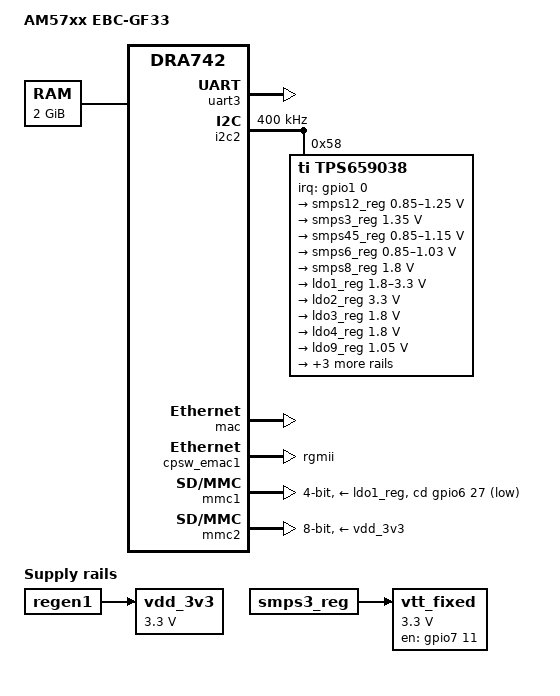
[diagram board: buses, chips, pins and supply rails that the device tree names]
/*
 * Copyright (C) 2014 Texas Instruments Incorporated - http://www.ti.com/
 *
 * This program is free software; you can redistribute it and/or modify
 * it under the terms of the GNU General Public License version 2 as
 * published by the Free Software Foundation.
 */
/dts-v1/;

#include "dra74x.dtsi"
#include <dt-bindings/gpio/gpio.h>
#include <dt-bindings/interrupt-controller/irq.h>

/ {
	model = "AM57xx EBC-GF33";
	compatible = "ti,am572x-beagle-x15", "ti,am5728", "ti,dra742", "ti,dra74", "ti,dra7";

	chosen {
		stdout-path = &uart3;
	};

	memory {
		device_type = "memory";
		reg = <0x80000000 0x80000000>;
	};

	vdd_3v3: fixedregulator-vdd_3v3 {
		compatible = "regulator-fixed";
		regulator-name = "vdd_3v3";
		vin-supply = <&regen1>;
		regulator-min-microvolt = <3300000>;
		regulator-max-microvolt = <3300000>;
	};

	vtt_fixed: fixedregulator-vtt {
		/* TPS51200 */
		compatible = "regulator-fixed";
		regulator-name = "vtt_fixed";
		vin-supply = <&smps3_reg>;
		regulator-min-microvolt = <3300000>;
		regulator-max-microvolt = <3300000>;
		regulator-always-on;
		regulator-boot-on;
		enable-active-high;
		gpio = <&gpio7 11 GPIO_ACTIVE_HIGH>;
	};
};

&dra7_pmx_core {
	leds_pins_default: leds_pins_default {
		pinctrl-single,pins = <
			0x3a8 (PIN_OUTPUT | MUX_MODE14)	/* spi1_d1.gpio7_8 */
			0x3ac (PIN_OUTPUT | MUX_MODE14)	/* spi1_d0.gpio7_9 */
			0x3c0 (PIN_OUTPUT | MUX_MODE14)	/* spi2_sclk.gpio7_14 */
			0x3c4 (PIN_OUTPUT | MUX_MODE14)	/* spi2_d1.gpio7_15 */
		>;
	};

	i2c1_pins_default: i2c1_pins_default {
		pinctrl-single,pins = <
			0x400 (PIN_INPUT_PULLUP | MUX_MODE0)	/* i2c1_sda.sda */
			0x404 (PIN_INPUT_PULLUP | MUX_MODE0)	/* i2c1_scl.scl */
		>;
	};

	hdmi_pins: pinmux_hdmi_pins {
		pinctrl-single,pins = <
			0x408 (PIN_INPUT | MUX_MODE1)	/* i2c2_sda.hdmi1_ddc_scl */
			0x40c (PIN_INPUT | MUX_MODE1)	/* i2c2_scl.hdmi1_ddc_sda */
		>;
	};

	i2c3_pins_default: i2c3_pins_default {
		pinctrl-single,pins = <
			0x2a4 (PIN_INPUT| MUX_MODE10)	/* mcasp1_aclkx.i2c3_sda */
			0x2a8 (PIN_INPUT| MUX_MODE10)	/* mcasp1_fsx.i2c3_scl */
		>;
	};

	uart3_pins_default: uart3_pins_default {
		pinctrl-single,pins = <
			0x3f8 (PIN_INPUT_SLEW | MUX_MODE2) /* uart2_ctsn.uart3_rxd */
			0x3fc (PIN_INPUT_SLEW | MUX_MODE1) /* uart2_rtsn.uart3_txd */
		>;
	};

	mmc1_pins_default: mmc1_pins_default {
		pinctrl-single,pins = <
			0x36c (PIN_INPUT | MUX_MODE14)	/* mmc1sdcd.gpio219 */
			0x354 (PIN_INPUT_PULLUP | MUX_MODE0) /* mmc1_clk.clk */
			0x358 (PIN_INPUT_PULLUP | MUX_MODE0) /* mmc1_cmd.cmd */
			0x35c (PIN_INPUT_PULLUP | MUX_MODE0) /* mmc1_dat0.dat0 */
			0x360 (PIN_INPUT_PULLUP | MUX_MODE0) /* mmc1_dat1.dat1 */
			0x364 (PIN_INPUT_PULLUP | MUX_MODE0) /* mmc1_dat2.dat2 */
			0x368 (PIN_INPUT_PULLUP | MUX_MODE0) /* mmc1_dat3.dat3 */
		>;
	};

	mmc1_pins_hs: pinmux_mmc1_hs_pins {
		pinctrl-single,pins = <
			0x354 (PIN_INPUT_PULLUP | MUX_VIRTUAL_MODE11 | MUX_MODE0) /* mmc1_clk.clk */
			0x358 (PIN_INPUT_PULLUP | MUX_VIRTUAL_MODE11 | MUX_MODE0) /* mmc1_cmd.cmd */
			0x35c (PIN_INPUT_PULLUP | MUX_VIRTUAL_MODE11 | MUX_MODE0) /* mmc1_dat0.dat0 */
			0x360 (PIN_INPUT_PULLUP | MUX_VIRTUAL_MODE11 | MUX_MODE0) /* mmc1_dat1.dat1 */
			0x364 (PIN_INPUT_PULLUP | MUX_VIRTUAL_MODE11 | MUX_MODE0) /* mmc1_dat2.dat2 */
			0x368 (PIN_INPUT_PULLUP | MUX_VIRTUAL_MODE11 | MUX_MODE0) /* mmc1_dat3.dat3 */
		>;
	};

	mmc2_pins_default: mmc2_pins_default {
		pinctrl-single,pins = <
			0x9c (PIN_INPUT_PULLUP | MUX_MODE1) /* gpmc_a23.mmc2_clk */
			0xb0 (PIN_INPUT_PULLUP | MUX_MODE1) /* gpmc_cs1.mmc2_cmd */
			0xa0 (PIN_INPUT_PULLUP | MUX_MODE1) /* gpmc_a24.mmc2_dat0 */
			0xa4 (PIN_INPUT_PULLUP | MUX_MODE1) /* gpmc_a25.mmc2_dat1 */
			0xa8 (PIN_INPUT_PULLUP | MUX_MODE1) /* gpmc_a26.mmc2_dat2 */
			0xac (PIN_INPUT_PULLUP | MUX_MODE1) /* gpmc_a27.mmc2_dat3 */
			0x8c (PIN_INPUT_PULLUP | MUX_MODE1) /* gpmc_a19.mmc2_dat4 */
			0x90 (PIN_INPUT_PULLUP | MUX_MODE1) /* gpmc_a20.mmc2_dat5 */
			0x94 (PIN_INPUT_PULLUP | MUX_MODE1) /* gpmc_a21.mmc2_dat6 */
			0x98 (PIN_INPUT_PULLUP | MUX_MODE1) /* gpmc_a22.mmc2_dat7 */
		>;
	};

	mmc2_pins_hs: mmc2_pins_hs {
		pinctrl-single,pins = <
			0x9c (PIN_INPUT_PULLUP | MUX_MODE1) /* gpmc_a23.mmc2_clk */
			0xb0 (PIN_INPUT_PULLUP | MUX_MODE1) /* gpmc_cs1.mmc2_cmd */
			0xa0 (PIN_INPUT_PULLUP | MUX_MODE1) /* gpmc_a24.mmc2_dat0 */
			0xa4 (PIN_INPUT_PULLUP | MUX_MODE1) /* gpmc_a25.mmc2_dat1 */
			0xa8 (PIN_INPUT_PULLUP | MUX_MODE1) /* gpmc_a26.mmc2_dat2 */
			0xac (PIN_INPUT_PULLUP | MUX_MODE1) /* gpmc_a27.mmc2_dat3 */
			0x8c (PIN_INPUT_PULLUP | MUX_MODE1) /* gpmc_a19.mmc2_dat4 */
			0x90 (PIN_INPUT_PULLUP | MUX_MODE1) /* gpmc_a20.mmc2_dat5 */
			0x94 (PIN_INPUT_PULLUP | MUX_MODE1) /* gpmc_a21.mmc2_dat6 */
			0x98 (PIN_INPUT_PULLUP | MUX_MODE1) /* gpmc_a22.mmc2_dat7 */
		>;
	};

	mmc2_pins_ddr_3_3v: pinmux_mmc2_ddr_3_3v_pins {
		pinctrl-single,pins = <
			0x9c (PIN_INPUT_PULLUP | MANUAL_MODE | MUX_MODE1) /* gpmc_a23.mmc2_clk */
			0xb0 (PIN_INPUT_PULLUP | MANUAL_MODE | MUX_MODE1) /* gpmc_cs1.mmc2_cmd */
			0xa0 (PIN_INPUT_PULLUP | MANUAL_MODE | MUX_MODE1) /* gpmc_a24.mmc2_dat0 */
			0xa4 (PIN_INPUT_PULLUP | MANUAL_MODE | MUX_MODE1) /* gpmc_a25.mmc2_dat1 */
			0xa8 (PIN_INPUT_PULLUP | MANUAL_MODE | MUX_MODE1) /* gpmc_a26.mmc2_dat2 */
			0xac (PIN_INPUT_PULLUP | MANUAL_MODE | MUX_MODE1) /* gpmc_a27.mmc2_dat3 */
			0x8c (PIN_INPUT_PULLUP | MANUAL_MODE | MUX_MODE1) /* gpmc_a19.mmc2_dat4 */
			0x90 (PIN_INPUT_PULLUP | MANUAL_MODE | MUX_MODE1) /* gpmc_a20.mmc2_dat5 */
			0x94 (PIN_INPUT_PULLUP | MANUAL_MODE | MUX_MODE1) /* gpmc_a21.mmc2_dat6 */
			0x98 (PIN_INPUT_PULLUP | MANUAL_MODE | MUX_MODE1) /* gpmc_a22.mmc2_dat7 */
		>;
	};

};

&dra7_iodelay_core {
	mmc2_iodelay_ddr_3_3v_conf: mmc2_iodelay_ddr_3_3v_conf {
		pinctrl-single,pins = <
			0x18c (A_DELAY(0) | G_DELAY(120))	/* CFG_GPMC_A19_IN */
			0x190 (A_DELAY(0) | G_DELAY(0))		/* CFG_GPMC_A19_OEN */
			0x194 (A_DELAY(174) | G_DELAY(0))	/* CFG_GPMC_A19_OUT */
			0x1a4 (A_DELAY(265) | G_DELAY(360))	/* CFG_GPMC_A20_IN */
			0x1a8 (A_DELAY(0) | G_DELAY(0))		/* CFG_GPMC_A20_OEN */
			0x1ac (A_DELAY(168) | G_DELAY(0))	/* CFG_GPMC_A20_OUT */
			0x1b0 (A_DELAY(0) | G_DELAY(120))	/* CFG_GPMC_A21_IN */
			0x1b4 (A_DELAY(0) | G_DELAY(0))		/* CFG_GPMC_A21_OEN */
			0x1b8 (A_DELAY(136) | G_DELAY(0))	/* CFG_GPMC_A21_OUT */
			0x1bc (A_DELAY(0) | G_DELAY(120))	/* CFG_GPMC_A22_IN */
			0x1c0 (A_DELAY(0) | G_DELAY(0))		/* CFG_GPMC_A22_OEN */
			0x1c4 (A_DELAY(0) | G_DELAY(0))		/* CFG_GPMC_A22_OUT */
			0x1c8 (A_DELAY(287) | G_DELAY(420))	/* CFG_GPMC_A23_IN */
			0x1d0 (A_DELAY(879) | G_DELAY(0))	/* CFG_GPMC_A23_OUT */
			0x1d4 (A_DELAY(144) | G_DELAY(240))	/* CFG_GPMC_A24_IN */
			0x1d8 (A_DELAY(0) | G_DELAY(0))		/* CFG_GPMC_A24_OEN */
			0x1dc (A_DELAY(0) | G_DELAY(0))		/* CFG_GPMC_A24_OUT */
			0x1e0 (A_DELAY(0) | G_DELAY(0))		/* CFG_GPMC_A25_IN */
			0x1e4 (A_DELAY(0) | G_DELAY(0))		/* CFG_GPMC_A25_OEN */
			0x1e8 (A_DELAY(34) | G_DELAY(0))	/* CFG_GPMC_A25_OUT */
			0x1ec (A_DELAY(0) | G_DELAY(120))	/* CFG_GPMC_A26_IN */
			0x1f0 (A_DELAY(0) | G_DELAY(0))		/* CFG_GPMC_A26_OEN */
			0x1f4 (A_DELAY(120) | G_DELAY(0))	/* CFG_GPMC_A26_OUT */
			0x1f8 (A_DELAY(120) | G_DELAY(180))	/* CFG_GPMC_A27_IN */
			0x1fc (A_DELAY(0) | G_DELAY(0))		/* CFG_GPMC_A27_OEN */
			0x200 (A_DELAY(0) | G_DELAY(0))		/* CFG_GPMC_A27_OUT */
			0x360 (A_DELAY(0) | G_DELAY(0))		/* CFG_GPMC_CS1_IN */
			0x364 (A_DELAY(0) | G_DELAY(0))		/* CFG_GPMC_CS1_OEN */
			0x368 (A_DELAY(11) | G_DELAY(0))	/* CFG_GPMC_CS1_OUT */
		>;
	};
};

&cpu0 {
	cpu0-supply = <&smps12_reg>;
	voltage-tolerance = <1>;
};

&uart3 {
	status = "okay";
	interrupts-extended = <&crossbar_mpu GIC_SPI 69 IRQ_TYPE_LEVEL_HIGH>,
			      <&dra7_pmx_core 0x3f8>;

	pinctrl-names = "default";
	pinctrl-0 = <&uart3_pins_default>;
};

/* Add by Qing for AM5728 common */
&i2c2 {
	status = "okay";
	clock-frequency = <400000>;

	tps659038: tps659038@58 {
		compatible = "ti,tps659038";
		reg = <0x58>;
		interrupt-parent = <&gpio1>;
		interrupts = <0 IRQ_TYPE_LEVEL_LOW>;

		#interrupt-cells = <2>;
		interrupt-controller;

		/****** Set all PMIC PAD reg as gpio pin *****/
		ti,mux-pad1 = <0>;
		ti,mux-pad2 = <0>;

		ti,system-power-controller;

		tps659038_pmic {
			compatible = "ti,tps659038-pmic";

			regulators {
				smps12_reg: smps12 {
					/* VDD_MPU */
					regulator-name = "smps12";
					regulator-min-microvolt = < 850000>;
					regulator-max-microvolt = <1250000>;
					regulator-always-on;
					regulator-boot-on;
				};

				smps3_reg: smps3 {
					/* VDD_DDR */
					regulator-name = "smps3";
					regulator-min-microvolt = <1350000>;
					regulator-max-microvolt = <1350000>;
					regulator-always-on;
					regulator-boot-on;
				};

				smps45_reg: smps45 {
					/* VDD_DSPEVE, VDD_IVA, VDD_GPU */
					regulator-name = "smps45";
					regulator-min-microvolt = < 850000>;
					regulator-max-microvolt = <1150000>;
					regulator-always-on;
					regulator-boot-on;
				};

				smps6_reg: smps6 {
					/* VDD_CORE */
					regulator-name = "smps6";
					regulator-min-microvolt = <850000>;
					regulator-max-microvolt = <1030000>;
					regulator-always-on;
					regulator-boot-on;
				};

				/* SMPS7 unused */

				smps8_reg: smps8 {
					/* VDD_1V8 */
					regulator-name = "smps8";
					regulator-min-microvolt = <1800000>;
					regulator-max-microvolt = <1800000>;
					regulator-always-on;
					regulator-boot-on;
				};

				/* SMPS9 unused */

				ldo1_reg: ldo1 {
					/* VDD_SD / VDDSHV8  */
					regulator-name = "ldo1";
					regulator-min-microvolt = <1800000>;
					regulator-max-microvolt = <3300000>;
					regulator-boot-on;
					regulator-always-on;
				};

				ldo2_reg: ldo2 {
					/* VDD_SHV5 */
					regulator-name = "ldo2";
					regulator-min-microvolt = <3300000>;
					regulator-max-microvolt = <3300000>;
					regulator-always-on;
					regulator-boot-on;
				};

				ldo3_reg: ldo3 {
					/* VDDA_1V8_PHYA */
					regulator-name = "ldo3";
					regulator-min-microvolt = <1800000>;
					regulator-max-microvolt = <1800000>;
					regulator-always-on;
					regulator-boot-on;
				};

				ldo4_reg: ldo4 {
					/* VDDA_1V8_PHYB */
					regulator-name = "ldo4";
					regulator-min-microvolt = <1800000>;
					regulator-max-microvolt = <1800000>;
					regulator-always-on;
					regulator-boot-on;
				};

				ldo9_reg: ldo9 {
					/* VDD_RTC */
					regulator-name = "ldo9";
					regulator-min-microvolt = <1050000>;
					regulator-max-microvolt = <1050000>;
					regulator-always-on;
					regulator-boot-on;
				};

				ldoln_reg: ldoln {
					/* VDDA_1V8_PLL */
					regulator-name = "ldoln";
					regulator-min-microvolt = <1800000>;
					regulator-max-microvolt = <1800000>;
					regulator-always-on;
					regulator-boot-on;
				};

				ldousb_reg: ldousb {
					/* VDDA_3V_USB: VDDA_USBHS33 */
					regulator-name = "ldousb";
					regulator-min-microvolt = <3300000>;
					regulator-max-microvolt = <3300000>;
					regulator-boot-on;
				};

				regen1: regen1 {
					/* VDD_3V3_ON */
					regulator-name = "regen1";
					regulator-boot-on;
					regulator-always-on;
				};
			};
		};

		/*tps659038_rtc: tps659038_rtc {
			compatible = "ti,palmas-rtc";
			interrupt-parent = <&tps659038>;
			interrupts = <8 IRQ_TYPE_EDGE_FALLING>;
			wakeup-source;
		};*/

		tps659038_pwr_button: tps659038_pwr_button {
			compatible = "ti,palmas-pwrbutton";
			interrupt-parent = <&tps659038>;
			interrupts = <1 IRQ_TYPE_EDGE_FALLING>;
			wakeup-source;
			ti,palmas-long-press-seconds = <12>;
		};

		tps659038_gpio: tps659038_gpio {
			compatible = "ti,palmas-gpio";
			gpio-controller;
			#gpio-cells = <2>;
		};

		/*extcon_usb2: tps659038_usb {
			compatible = "ti,palmas-usb-vid";
			ti,enable-vbus-detection;
			ti,enable-id-detection;
			id-gpios = <&gpio7 24 GPIO_ACTIVE_HIGH>;
		};*/
	};
};


/*
* Ethernet: 2 cpsw_emac by default.
* This should not be modified. if you are intend to use
* a eMAC, you can modify your own top device tree. 
* eg. /delete-property/ or/delete-node/.
*/
&mac {
	status = "okay";
	active_slave = <1>;
	dual_emac;
};

&cpsw_emac1 {
	phy_id = <&davinci_mdio>, <2>;
	phy-mode = "rgmii";
	dual_emac_res_vlan = <1>;
};


&mmc1 {
	status = "okay";

	pinctrl-names = "default", "hs";
	pinctrl-0 = <&mmc1_pins_default>;
	pinctrl-1 = <&mmc1_pins_hs>;

	vmmc-supply = <&ldo1_reg>;
	vmmc_aux-supply = <&vdd_3v3>;
	pbias-supply = <&pbias_mmc_reg>;
	bus-width = <4>;
	cd-gpios = <&gpio6 27 GPIO_ACTIVE_LOW>; /* gpio 219 */
	/* We remove these caps .*/
	/delete-property/ sd-uhs-sdr104;
	/delete-property/ sd-uhs-sdr50;
	/delete-property/ sd-uhs-ddr50;
	/delete-property/ sd-uhs-sdr25;
	/delete-property/ sd-uhs-sdr12;
};

&mmc2 {
	status = "okay";

	pinctrl-names = "default", "hs", "ddr_1_8v";
	pinctrl-0 = <&mmc2_pins_default>;
	pinctrl-1 = <&mmc2_pins_hs>;
	pinctrl-2 = <&mmc2_pins_ddr_3_3v &mmc2_iodelay_ddr_3_3v_conf>;

	vmmc-supply = <&vdd_3v3>;
	bus-width = <8>;
	iov = <3300000>;
	ti,non-removable;
	cap-mmc-dual-data-rate;
	max-frequency = <96000000>;
	/delete-property/ mmc-hs200-1_8v;
};
